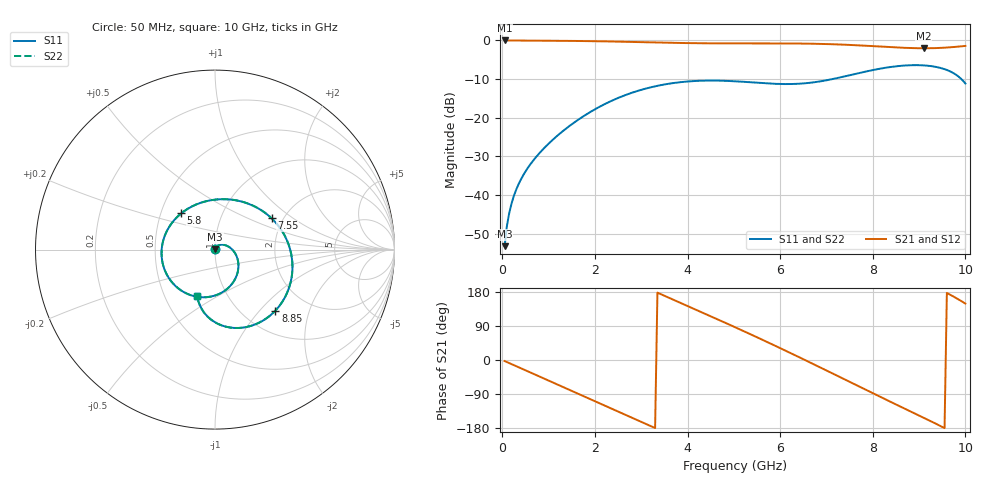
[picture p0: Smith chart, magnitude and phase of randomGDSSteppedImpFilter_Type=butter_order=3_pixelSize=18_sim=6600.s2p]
! freq	dB(S11)	phase(S11)	dB(S12)	phase(S12)
!  dB(S21)	phase(S21)	dB(S22)	phase(S22)
!S-par simulation data
#  GHz  S  DB  R 50
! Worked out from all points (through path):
!   200 points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, 50 MHz to 10 GHz, reference 50 ohm
!   highest |S21| = 0.00 dB at 50 MHz (marker M1); lowest = -2.0 dB at 9.1 GHz (marker M2)
!   group delay of S21, straight-line fit = 157 ps
!   lowest |S11| = -53.3 dB at 50 MHz (marker M3), VSWR 1.00, Z = 50.1 + j0.208 ohm
!   |S11| at or under -10 dB: start of sweep to 7.133 GHz; 9.912 GHz to end of sweep
!   |S22| runs from -53.3 to -6.4 dB; largest |S21 - S12| = 0
!   S11 on the Smith chart (normalised r, x): 50 MHz: 1.00, +0.00; 5.8 GHz: 0.64, +0.28; 7.55 GHz: 1.74, +0.70; 8.85 GHz: 1.39, -1.22; 10 GHz: 0.73, -0.41
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0.05  -53.28 73.0  -0.00 -2.8  -0.00 -2.8  -53.29 72.9
0.1  -48.03 76.1  -0.01 -5.5  -0.01 -5.5  -48.03 76.1
0.2  -42.21 75.0  -0.02 -10.9  -0.02 -10.9  -42.21 75.1
0.5  -33.95 62.0  -0.04 -27.2  -0.04 -27.2  -33.95 62.2
1.15  -25.07 28.0  -0.08 -62.4  -0.08 -62.4  -25.07 28.2
1.75  -19.65 -4.7  -0.15 -95.1  -0.15 -95.1  -19.64 -4.5
2.2  -16.56 -29.3  -0.24 -119.7  -0.24 -119.7  -16.55 -29.2
2.65  -14.18 -54.0  -0.34 -144.2  -0.34 -144.2  -14.18 -53.9
3.4  -11.63 -94.7  -0.55 175.0  -0.55 175.0  -11.63 -94.6
4.3  -10.43 -143.1  -0.73 126.4  -0.73 126.4  -10.43 -143.2
5.05  -10.59 175.8  -0.77 85.2  -0.77 85.2  -10.59 175.6
5.8  -11.18 133.0  -0.76 42.9  -0.76 42.9  -11.18 132.9
6.25  -11.28 106.5  -0.78 16.8  -0.78 16.8  -11.28 106.5
6.7  -10.89 79.6  -0.85 -9.7  -0.85 -9.7  -10.89 79.8
7.1  -10.08 55.7  -0.97 -33.7  -0.97 -33.7  -10.08 55.9
7.55  -8.87 29.0  -1.18 -60.7  -1.18 -60.7  -8.87 29.2
7.95  -7.80 5.6  -1.44 -84.7  -1.44 -84.7  -7.80 5.8
8.35  -6.94 -17.3  -1.71 -108.4  -1.71 -108.4  -6.94 -17.1
8.85  -6.41 -45.4  -1.98 -137.6  -1.98 -137.6  -6.41 -45.3
9.1  -6.46 -59.2  -2.03 -152.3  -2.03 -152.3  -6.46 -59.2
9.6  -7.65 -87.6  -1.84 177.0  -1.84 177.0  -7.66 -87.7
10  -11.16 -110.7  -1.42 148.9  -1.42 148.9  -11.18 -111.0
